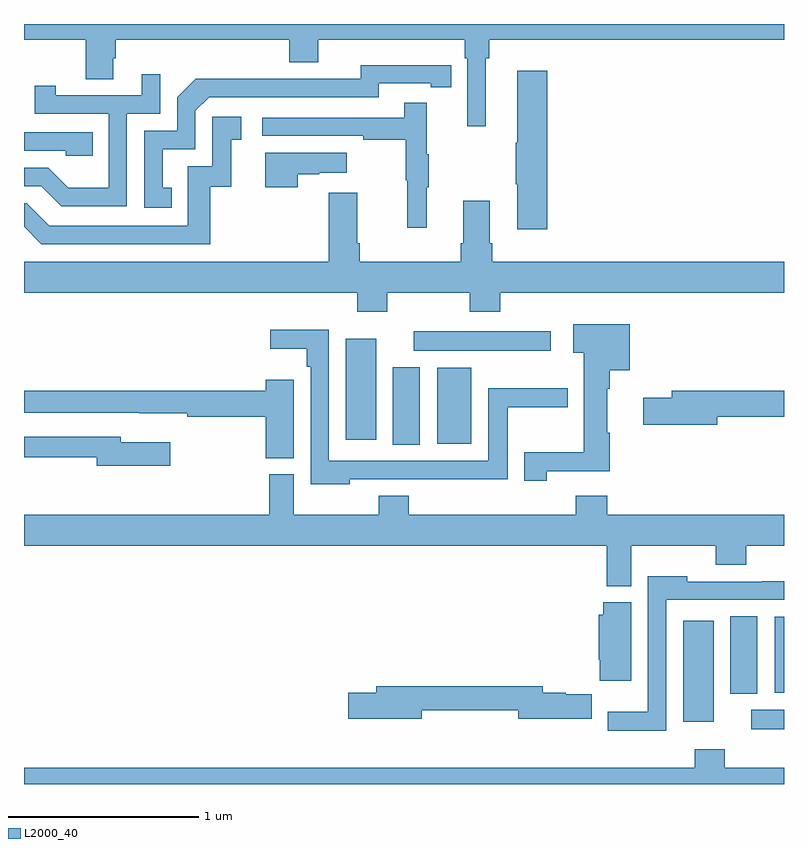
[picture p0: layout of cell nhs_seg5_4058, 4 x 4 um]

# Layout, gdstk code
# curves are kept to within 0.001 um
import gdstk
lib = gdstk.Library(unit=1e-6, precision=1e-09)
def R(c, l, rs):  # rectangles x0, y0, x1, y1
    for r in rs: c.add(gdstk.rectangle(r[:2], r[2:], *l))
def P(c, l, *ps):  # polygons
    for p in ps: c.add(gdstk.Polygon(p, *l))
L2000_40 = (2000, 40)

nhs_seg5_4058 = lib.new_cell('nhs_seg5_4058')
R(nhs_seg5_4058, L2000_40, [(352.827,897.086,353,897.19), (352.469,897.126,352.63,897.658), (352.718,897.275,352.858,897.683), (352.952,897.278,353,897.679), (350.942,898.585,351.082,898.993), (351.176,898.589,351.355,898.99), (350.693,898.611,350.854,899.143), (351.051,899.078,351.772,899.182)])
P(nhs_seg5_4058, L2000_40, [(351.43,900.62),(351.449,900.62),(351.449,900.716),(353,900.716),(353,900.799),(349,900.799),(349,900.716),(349.324,900.716),(349.324,900.508),(349.471,900.508),(349.471,900.618),(349.484,900.618),(349.484,900.716),(350.396,900.716),(350.396,900.599),(350.548,900.599),(350.548,900.716),(351.32,900.716),(351.32,900.62),(351.333,900.62),(351.333,900.261),(351.43,900.261)],
  [(349.778,899.937),(349.729,899.937),(349.729,900.141),(349.902,900.141),(349.902,900.342),(349.974,900.414),(350.868,900.414),(350.868,900.486),(351.14,900.486),(351.14,900.466),(351.248,900.466),(351.248,900.582),(350.772,900.583),(350.772,900.51),(350.312,900.51),(350.312,900.512),(349.904,900.512),(349.806,900.414),(349.806,900.237),(349.632,900.237),(349.632,899.832),(349.778,899.832)],
  [(351.755,900.553),(351.596,900.553),(351.596,900.173),(351.589,900.173),(351.589,899.956),(351.596,899.956),(351.596,899.718),(351.755,899.718)],
  [(349.542,900.327),(349.716,900.327),(349.716,900.535),(349.619,900.535),(349.619,900.423),(349.168,900.423),(349.168,900.475),(349.057,900.475),(349.057,900.327),(349.446,900.327),(349.446,899.938),(349.232,899.938),(349.128,900.042),(349,900.042),(349,899.946),(349.091,899.946),(349.196,899.841),(349.542,899.841)],
  [(351.119,899.939),(351.13,899.939),(351.13,900.113),(351.119,900.113),(351.119,900.385),(351.001,900.385),(351.001,900.306),(350.253,900.306),(350.253,900.21),(350.785,900.21),(350.785,900.19),(351.009,900.19),(351.009,899.976),(351.016,899.976),(351.016,899.727),(351.119,899.727)],
  [(349.979,899.943),(350.09,899.943),(350.09,900.189),(350.143,900.189),(350.143,900.31),(349.992,900.31),(349.992,900.051),(349.863,900.051),(349.863,899.736),(349.134,899.736),(349.014,899.856),(349,899.856),(349,899.732),(349.092,899.64),(349.979,899.64)],
  [(349.361,900.228),(349,900.228),(349,900.132),(349.221,900.132),(349.221,900.105),(349.361,900.105)],
  [(350.441,900.007),(350.555,900.007),(350.555,900.017),(350.698,900.017),(350.698,900.121),(350.27,900.121),(350.27,899.94),(350.441,899.94)],
  [(350.913,899.384),(351.346,899.384),(351.346,899.285),(351.506,899.285),(351.506,899.384),(353,899.384),(353,899.548),(351.464,899.548),(351.464,899.644),(351.451,899.644),(351.451,899.869),(351.311,899.869),(351.311,899.644),(351.299,899.644),(351.299,899.548),(350.768,899.548),(350.768,899.644),(350.755,899.644),(350.755,899.911),(350.603,899.911),(350.603,899.548),(349,899.548),(349,899.384),(350.753,899.384),(350.753,899.285),(350.913,899.285)],
  [(351.75,898.445),(352.082,898.445),(352.082,898.649),(352.069,898.649),(352.069,898.88),(352.082,898.88),(352.082,898.976),(352.189,898.976),(352.189,899.218),(351.891,899.218),(351.891,899.069),(351.947,899.069),(351.947,898.545),(351.632,898.545),(351.632,898.395),(351.75,898.395)],
  [(350.715,898.404),(351.109,898.404),(351.109,898.403),(351.547,898.403),(351.547,898.783),(351.862,898.783),(351.862,898.883),(351.443,898.883),(351.443,898.5),(350.604,898.5),(350.604,899.189),(350.295,899.189),(350.295,899.09),(350.488,899.09),(350.488,898.994),(350.508,898.994),(350.508,898.376),(350.715,898.376)],
  [(350.419,898.927),(350.273,898.927),(350.273,898.868),(349,898.868),(349,898.752),(349.606,898.752),(349.606,898.751),(349.858,898.751),(349.858,898.732),(350.273,898.732),(350.273,898.513),(350.419,898.513)],
  [(352.648,898.732),(353,898.732),(353,898.868),(352.409,898.868),(352.409,898.832),(352.26,898.832),(352.26,898.69),(352.648,898.69)],
  [(349.771,898.597),(349.51,898.597),(349.51,898.626),(349,898.626),(349,898.518),(349.382,898.518),(349.382,898.475),(349.771,898.475)],
  [(352.195,898.052),(352.642,898.052),(352.642,897.953),(352.802,897.953),(352.802,898.052),(353,898.052),(353,898.216),(352.07,898.216),(352.07,898.315),(351.905,898.315),(351.905,898.216),(351.026,898.216),(351.026,898.315),(350.866,898.315),(350.866,898.216),(350.419,898.216),(350.419,898.428),(350.291,898.428),(350.291,898.216),(349,898.216),(349,898.052),(352.067,898.052),(352.067,897.841),(352.195,897.841)],
  [(352.38,897.768),(353,897.768),(353,897.866),(352.885,897.866),(352.885,897.864),(352.491,897.864),(352.491,897.892),(352.284,897.892),(352.284,897.178),(352.073,897.178),(352.073,897.08),(352.38,897.08)],
  [(352.195,897.756),(352.049,897.756),(352.049,897.69),(352.025,897.69),(352.025,897.454),(352.03,897.454),(352.03,897.342),(352.195,897.342)],
  [(351.094,897.186),(351.602,897.186),(351.602,897.143),(351.988,897.143),(351.988,897.272),(351.852,897.272),(351.852,897.278),(351.73,897.278),(351.73,897.314),(350.855,897.314),(350.855,897.278),(350.706,897.278),(350.706,897.143),(351.094,897.143)],
  [(353,896.884),(352.689,896.884),(352.689,896.983),(352.529,896.983),(352.529,896.884),(349,896.884),(349,896.799),(353,896.799)])

lib.write_gds('nhs_seg5_4058.gds')
